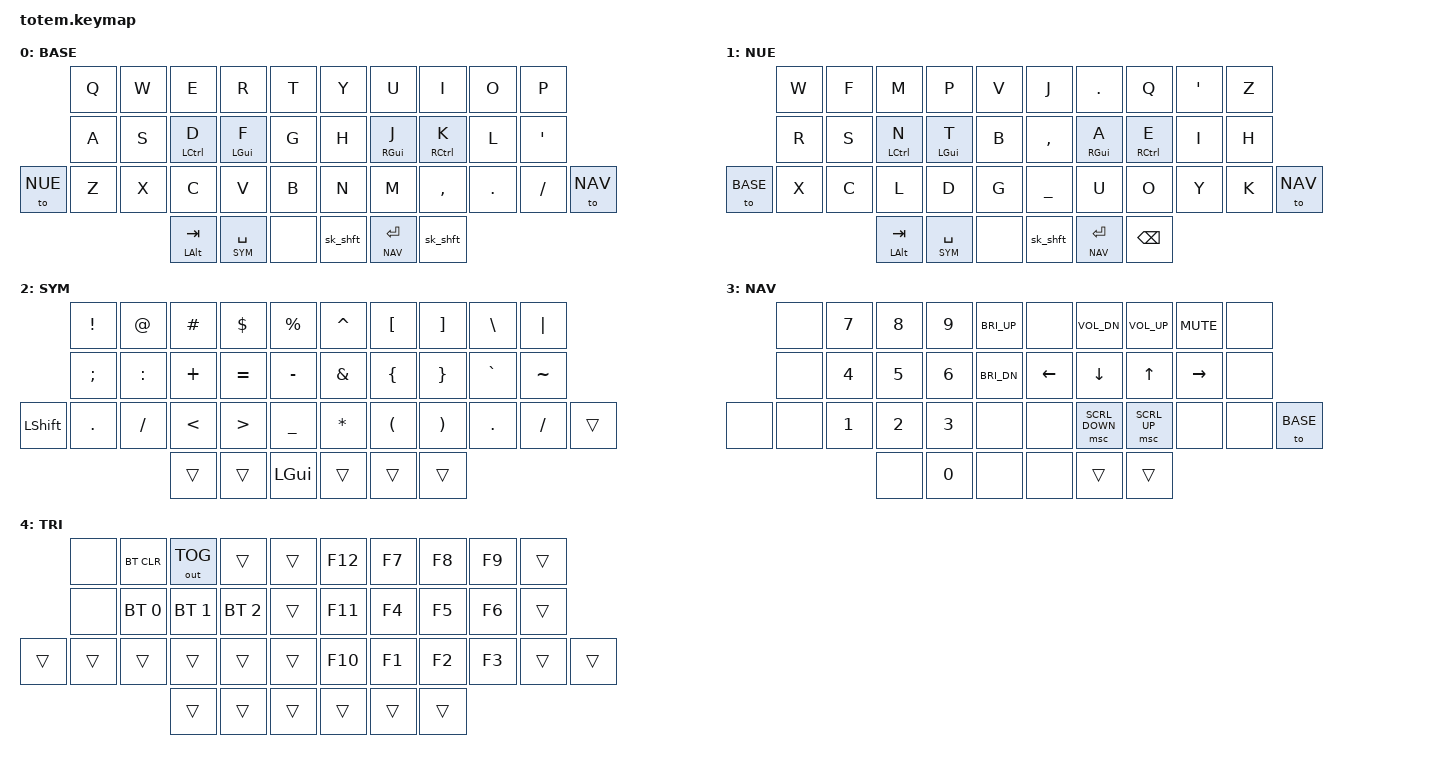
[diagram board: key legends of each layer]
#include "./helper_keypos_38keys.h"
#include <behaviors.dtsi>
#include <dt-bindings/zmk/bt.h>
#include <dt-bindings/zmk/keys.h>
#include <dt-bindings/zmk/outputs.h>
#include <dt-bindings/zmk/pointing.h>

#define BASE 0
#define NUE  1
#define SYM  2
#define NAV  3
#define TRI  4
#define KEYS_L LT0 LT1 LT2 LT3 LT4 LM0 LM1 LM2 LM3 LM4 LB0 LB1 LB2 LB3 LB4 LB5  // left-hand keys
#define KEYS_R RT0 RT1 RT2 RT3 RT4 RM0 RM1 RM2 RM3 RM4 RB0 RB1 RB2 RB3 RB4 RB5 // right-hand keys
#define THUMBS LH2 LH1 LH0 RH0 RH1 RH2

&lt {
    tapping-term-ms = <150>;
};

&sk {
    quick-release;
};

/ {
    behaviors {
        hml: home_row_mods_left {
            compatible = "zmk,behavior-hold-tap";
            #binding-cells = <2>;
            flavor = "balanced";
            tapping-term-ms = <280>;
            quick-tap-ms = <210>;                // repeat on tap-into-hold
            require-prior-idle-ms = <150>;
            bindings = <&kp>, <&kp>;

            hold-trigger-key-positions = <KEYS_R THUMBS>;
            hold-trigger-on-release;             // delay positional check until key-release
        };

        hmr: home_row_mods_right {
            compatible = "zmk,behavior-hold-tap";
            #binding-cells = <2>;
            flavor = "balanced";
            tapping-term-ms = <280>;
            quick-tap-ms = <210>;                // repeat on tap-into-hold
            require-prior-idle-ms = <150>;
            bindings = <&kp>, <&kp>;

            hold-trigger-key-positions = <KEYS_L THUMBS>;
            hold-trigger-on-release;
        };

        sk_shft: sticky_shift_caps_word {
            compatible = "zmk,behavior-mod-morph";
            #binding-cells = <0>;
            bindings = <&sk RSHIFT>, <&caps_word>;

            mods = <(MOD_LSFT | MOD_RSFT)>;
        };
    };

    combos {
        compatible = "zmk,combos";

        combo_esc {
            timeout-ms = <50>;
            key-positions = <LT3 LT2>;
            bindings = <&kp ESC>;
        };

        combo_bksp {
            timeout-ms = <50>;
            key-positions = <RT3 RT2>;
            bindings = <&kp BSPC>;
        };

        combo_dongle_boot {
            timeout-ms = <50>;
            key-positions = <LM3 LM2>;
            layers = <TRI>;
            bindings = <&bootloader>;
        };
    };

    conditional_layers {
        compatible = "zmk,conditional-layers";

        tri_layer {
            if-layers = <SYM NAV>;
            then-layer = <TRI>;
        };
    };

    keymap {
        compatible = "zmk,keymap";

        base_layer {
            label = "BASE";
            bindings = <
         &kp Q  &kp W  &kp E          &kp R          &kp T       &kp Y      &kp U        &kp I         &kp O    &kp P
         &kp A  &kp S  &hml LCTRL D   &hml LGUI F    &kp G       &kp H      &hmr RGUI J  &hmr RCTRL K  &kp L    &kp SQT
&to NUE  &kp Z  &kp X  &kp C          &kp V          &kp B       &kp N      &kp M        &kp COMMA     &kp DOT  &kp FSLH  &to NAV
                       &hml LALT TAB  &lt SYM SPACE  &none       &sk_shft   &lt NAV RET  &sk_shft            >;
        };

        hands_down_nue {
            label = "NUE";
            bindings = <
         &kp W  &kp F  &kp M          &kp P          &kp V           &kp J         &kp DOT      &kp Q        &kp SQT  &kp Z
         &kp R  &kp S  &hml LCTRL N   &hml LGUI T    &kp B           &kp COMMA     &hmr RGUI A  &hmr RCTRL E &kp I    &kp H
&to BASE &kp X  &kp C  &kp L          &kp D          &kp G           &kp UNDER     &kp U        &kp O        &kp Y    &kp K  &to NAV
                       &hml LALT TAB  &lt SYM SPACE  &none           &sk_shft      &lt NAV RET  &kp BSPC
            >;
        };

        sym_layer {
            label = "SYM";
            bindings = <
           &kp EXCL  &kp AT     &kp HASH  &kp DLLR   &kp PRCNT    &kp CARET  &kp LBKT  &kp RBKT  &kp BSLH   &kp PIPE
           &kp SEMI  &kp COLON  &kp PLUS  &kp EQUAL  &kp MINUS    &kp AMPS   &kp LBRC  &kp RBRC  &kp GRAVE  &kp TILDE
&kp LSHFT  &kp DOT   &kp FSLH   &kp LT    &kp GT     &kp UNDER    &kp STAR   &kp LPAR  &kp RPAR  &kp DOT    &kp FSLH   &trans
                                &trans    &trans     &kp LGUI     &trans     &trans    &trans
            >;
        };

        nav_layer {
            label = "NAV";
            bindings = <
       &none  &kp N7  &kp N8  &kp N9  &kp C_BRI_UP    &none     &kp C_VOL_DN  &kp C_VOL_UP  &kp C_MUTE  &none
       &none  &kp N4  &kp N5  &kp N6  &kp C_BRI_DN    &kp LEFT  &kp DOWN      &kp UP        &kp RIGHT   &none
&none  &none  &kp N1  &kp N2  &kp N3  &none           &none     &msc SCRL_DOWN  &msc SCRL_UP         &none       &none  &to BASE
                      &none   &kp N0  &none           &none     &trans        &trans
            >;
        };

        adjust_layer {
            label = "TRI";
            bindings = <
        &none        &bt BT_CLR    &out OUT_TOG  &trans        &trans    &kp F12  &kp F7  &kp F8  &kp F9  &trans
        &none        &bt BT_SEL 0  &bt BT_SEL 1  &bt BT_SEL 2  &trans    &kp F11  &kp F4  &kp F5  &kp F6  &trans
&trans  &trans       &trans        &trans        &trans        &trans    &kp F10  &kp F1  &kp F2  &kp F3  &trans  &trans
                                   &trans        &trans        &trans    &trans   &trans  &trans
            >;
        };

    };
};
